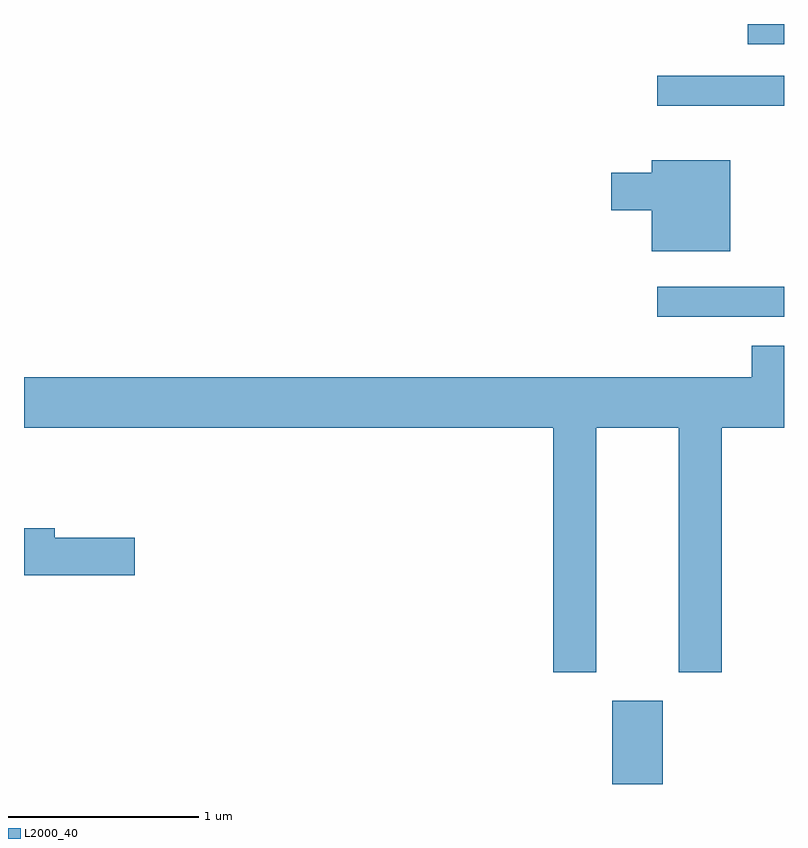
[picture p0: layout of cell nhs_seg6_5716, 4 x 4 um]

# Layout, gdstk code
import gdstk
lib = gdstk.Library(unit=1e-6, precision=1e-09)
def R(c, l, rs):  # rectangles x0, y0, x1, y1
    for r in rs: c.add(gdstk.rectangle(r[:2], r[2:], *l))
def P(c, l, *ps):  # polygons
    for p in ps: c.add(gdstk.Polygon(p, *l))
L2000_40 = (2000, 40)

nhs_seg6_5716 = lib.new_cell('nhs_seg6_5716')
R(nhs_seg6_5716, L2000_40, [(362.706,1548.162,362.974,1548.599), (362.943,1550.621,363.611,1550.779), (362.943,1551.731,363.611,1551.889), (363.421,1552.056,363.611,1552.162)])
P(nhs_seg6_5716, L2000_40, [(363.329,1551.444),(362.916,1551.444),(362.916,1551.379),(362.701,1551.379),(362.701,1551.181),(362.916,1551.181),(362.916,1550.966),(363.329,1550.966)],
  [(362.624,1550.036),(363.056,1550.036),(363.056,1548.751),(363.284,1548.751),(363.284,1550.036),(363.611,1550.036),(363.611,1550.469),(363.441,1550.469),(363.441,1550.304),(359.611,1550.304),(359.611,1550.036),(362.396,1550.036),(362.396,1548.751),(362.624,1548.751)],
  [(360.194,1549.459),(359.774,1549.459),(359.774,1549.509),(359.611,1549.509),(359.611,1549.261),(360.194,1549.261)])

lib.write_gds('nhs_seg6_5716.gds')
